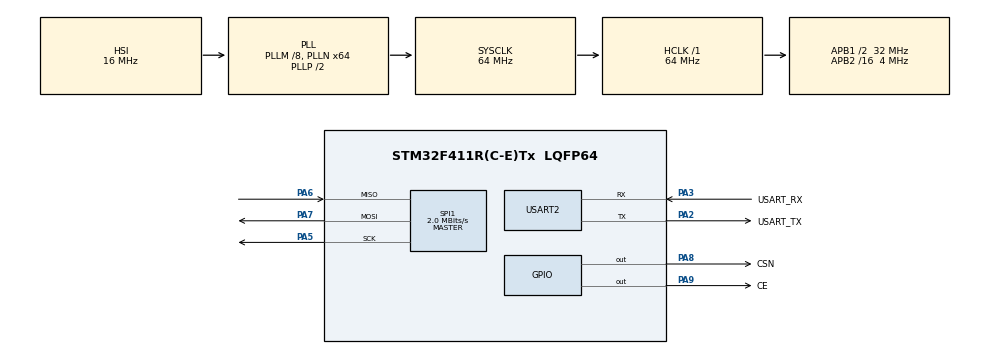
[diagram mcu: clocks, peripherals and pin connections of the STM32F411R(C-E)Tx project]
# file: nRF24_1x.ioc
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Mcu.Family=STM32F4
Mcu.Name=STM32F411R(C-E)Tx
Mcu.Package=LQFP64
NVIC.PriorityGroup=NVIC_PRIORITYGROUP_0
PA2.GPIO_Label=USART_TX
PA2.Mode=Asynchronous
PA2.Signal=USART2_TX
PA3.GPIO_Label=USART_RX
PA3.Mode=Asynchronous
PA3.Signal=USART2_RX
PA5.Mode=Full_Duplex_Master
PA5.Signal=SPI1_SCK
PA6.Mode=Full_Duplex_Master
PA6.Signal=SPI1_MISO
PA7.Mode=Full_Duplex_Master
PA7.Signal=SPI1_MOSI
PA8.GPIO_Label=CSN
PA8.Signal=GPIO_Output
PA9.GPIO_Label=CE
PA9.Signal=GPIO_Output
PC14-OSC32_IN.Mode=LSE-External-Oscillator
PC14-OSC32_IN.Signal=RCC_OSC32_IN
PC15-OSC32_OUT.Mode=LSE-External-Oscillator
PC15-OSC32_OUT.Signal=RCC_OSC32_OUT
PH0\ -\ OSC_IN.Mode=HSE-External-Clock-Source
PH0\ -\ OSC_IN.Signal=RCC_OSC_IN
PH1\ -\ OSC_OUT.Mode=HSE-External-Clock-Source
PH1\ -\ OSC_OUT.Signal=RCC_OSC_OUT
ProjectManager.HeapSize=0x200
ProjectManager.StackSize=0x400
ProjectManager.TargetToolchain=CMake
RCC.48MHZClocksFreq_Value=32000000
RCC.AHBFreq_Value=64000000
RCC.APB1CLKDivider=RCC_HCLK_DIV2
RCC.APB1Freq_Value=32000000
RCC.APB1TimFreq_Value=64000000
RCC.APB2CLKDivider=RCC_HCLK_DIV16
RCC.APB2Freq_Value=4000000
RCC.APB2TimFreq_Value=8000000
RCC.CortexFreq_Value=64000000
RCC.FLatency-AdvancedSettings=FLASH_LATENCY_2
RCC.HCLKFreq_Value=64000000
RCC.HSE_VALUE=8000000
RCC.HSI_VALUE=16000000
RCC.PLLM=8
RCC.PLLN=64
RCC.SYSCLKFreq_VALUE=64000000
RCC.SYSCLKSource=RCC_SYSCLKSOURCE_PLLCLK
RCC.VCOOutputFreq_Value=128000000
SPI1.CalculateBaudRate=2.0 MBits/s
SPI1.Direction=SPI_DIRECTION_2LINES
SPI1.Mode=SPI_MODE_MASTER
SPI1.VirtualType=VM_MASTER
USART2.VirtualMode=VM_ASYNC
board=NUCLEO-F411RE

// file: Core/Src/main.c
/* USER CODE BEGIN Header */
/**
  ******************************************************************************
  * @file           : main.c
  * @brief          : Main program body
  ******************************************************************************
  * @attention
  *
  * Copyright (c) 2024 STMicroelectronics.
  * All rights reserved.
  *
  * This software is licensed under terms that can be found in the LICENSE file
  * in the root directory of this software component.
  * If no LICENSE file comes with this software, it is provided AS-IS.
  *
  ******************************************************************************
  */
/* USER CODE END Header */
#include "main.h"
#include "spi.h"
#include "usart.h"
#include "gpio.h"
#include "nrf24l01p.h"
#include <stdio.h>

#ifdef __GNUC__
  #define _PUTCHAR int __io_putchar(int ch)
#else
  #define _PUTCHAR int fputc(int ch, FILE *f)
#endif

#define PROD_TX_ADDR "TXADR"
#define PROD_RF_CHAN 0xF1

_PUTCHAR {
  HAL_UART_Transmit(&huart2, (uint8_t *) &ch, 1, HAL_MAX_DELAY);
  return 1;
}

void SystemClock_Config(void);
void dumpRegs(nrf24_t *nrf);

/* USER CODE BEGIN 0 */
/*
params:
  in: nrf24_t * - Handle of nrf object

desc:
  Dumps all registers of the transceiver to USART device configured in _PUTCHAR macro
*/
void dumpRegs(nrf24_t *nrf) {
  uint8_t buf[5] = {0};
  uint8_t reg;

  reg = nRF24_GetConfig(nrf);
  printf("Config reg value: %02x\r\n", reg);
  reg = 0;

  reg = nRF24_GetAutoAck(nrf);
  printf("AutoAck reg value: %02x\r\n", reg);
  reg = 0;

  reg = nRF24_GetEnabledRxAddrs(nrf);
  printf("Enabled RX addrs reg value: %02x\r\n", reg);
  reg = 0;

  reg = nRF24_GetAddrWidth(nrf);
  printf("Addr width reg value: %02x\r\n", reg);
  reg = 0;

  reg = nRF24_GetAutoRetransmit(nrf);
  printf("Auto retransmit reg value: %02x\r\n", reg);
  reg = 0;

  reg = nRF24_GetRFChannel(nrf);
  printf("RF channel reg value: %02x\r\n", reg);
  reg = 0;

  reg = nRF24_GetRFConfig(nrf);
  printf("RF config reg value: %02x\r\n", reg);
  reg = 0;

  reg = nRF24_GetStatus(nrf);
  printf("Status reg value: %02x\r\n", reg);
  reg = 0;

  reg = nRF24_GetTxObserve(nrf);
  printf("TX observation reg value: %02x\r\n", reg);
  reg = 0;

  reg = nRF24_GetRPD(nrf);
  printf("RPD reg value: %02x\r\n", reg);
  reg = 0;

  nRF24_GetRXPipeAddr(nrf, p0, buf, sizeof(buf));
  for(uint8_t i = 0; i < sizeof(buf); i++) {
    printf("Rx pipe 0 reg value byte %d: %02x\r\n", i, buf[i]);
    buf[i] = 0;
  }

  nRF24_GetRXPipeAddr(nrf, p1, buf, sizeof(buf));
  for(uint8_t i = 0; i < sizeof(buf); i++) {
    printf("Rx pipe 1 reg value byte %d: %02x\r\n", i, buf[i]);
    buf[i] = 0;
  }

  nRF24_GetRXPipeAddr(nrf, p2, &reg, 1);
  printf("Rx pipe 2 value: %02x\r\n", reg);

  nRF24_GetRXPipeAddr(nrf, p3, &reg, 1);
  printf("Rx pipe 2 value: %02x\r\n", reg);

  nRF24_GetRXPipeAddr(nrf, p4, &reg, 1);
  printf("Rx pipe 2 value: %02x\r\n", reg);

  nRF24_GetRXPipeAddr(nrf, p5, &reg, 1);
  printf("Rx pipe 2 value: %02x\r\n", reg);

  nRF24_GetTXAddr(nrf, buf, sizeof(buf));
  for(uint8_t i = 0; i < sizeof(buf); i++) {
    printf("Tx addr byte %d: %02x\r\n", i, buf[i]);
    buf[i] = 0;
  }

  reg = nRF24_GetRXPipeWidth(nrf, p0);
  printf("Rx pipe 0 width reg value: %02x\r\n", reg);
  reg = 0;

  reg = nRF24_GetRXPipeWidth(nrf, p1);
  printf("Rx pipe 1 width reg value: %02x\r\n", reg);
  reg = 0;

  reg = nRF24_GetRXPipeWidth(nrf, p2);
  printf("Rx pipe 2 width reg value: %02x\r\n", reg);
  reg = 0;

  reg = nRF24_GetRXPipeWidth(nrf, p3);
  printf("Rx pipe 3 width reg value: %02x\r\n", reg);
  reg = 0;

  reg = nRF24_GetRXPipeWidth(nrf, p4);
  printf("Rx pipe 4 width reg value: %02x\r\n", reg);
  reg = 0;

  reg = nRF24_GetRXPipeWidth(nrf, p5);
  printf("Rx pipe 5 width reg value: %02x\r\n", reg);
  reg = 0;

  nRF24_ClearFifoStatus(nrf);
  reg = nRF24_GetFifoStatus(nrf);
  printf("Fifo status reg value: %02x\r\n", reg);
  reg = 0;

  reg = nRF24_GetDynamicPayloadConfig(nrf);
  printf("Dynamic payload config reg value: %02x\r\n", reg);
  reg = 0;

  reg = nRF24_GetFeatureConfig(nrf);
  printf("Feature config reg value: %02x\r\n", reg);
}
/* USER CODE END 0 */

int main(void)
{

  /* MCU Configuration--------------------------------------------------------*/

  /* Reset of all peripherals, Initializes the Flash interface and the Systick. */
  HAL_Init();

  /* Configure the system clock */
  SystemClock_Config();

  /* Initialize all configured peripherals */
  MX_GPIO_Init();
  MX_SPI1_Init();
  MX_USART2_UART_Init();
  /* USER CODE BEGIN 2 */

  nrf24_t nrf;
  uint8_t status = 0;
  uint8_t regValue = 0;
  status = nRF24_Init(&nrf, &hspi1, CSN_GPIO_Port, CSN_Pin, CE_GPIO_Port, CE_Pin);

  // Configured at compile time using -DDUMPREGS with gcc/clang
  #ifdef DUMPREGS
    dumpRegs(&nrf);
  #endif

  // Disable shockburst
  nRF24_SetPipeAA(&nrf, pAll, STATE_OFF);

  // Set RF channel
  nRF24_SetRFChannel(&nrf, PROD_RF_CHAN);

  // Set data rate
  nRF24_SetRFDataRate(&nrf, kbps250);

  // CRC format
  nRF24_SetCRC(&nrf, crc_2byte);

  // Addr width
  nRF24_SetAddrWidth(&nrf, aw5);

  // Set tx addr
  nRF24_SetTXAddr(&nrf, (uint8_t *) PROD_TX_ADDR, SIZE_TX_ADDR);

  // Set tx power
  nRF24_SetPower(&nrf, rf0dbm);

  // Set operational mode
  nRF24_SetOperationalMode(&nrf, MODE_TX);

  // Clear IRQ
  nRF24_ClearIRQ(&nrf);

  // Power up
  nRF24_SetPowerState(&nrf, STATE_ON);

  #ifdef DUMPREGS
    printf("Configuration complete, dumping registers\r\n");
    dumpRegs(&nrf);
  #endif

  /* USER CODE END 2 */

  /* Infinite loop */
  while (1)
  {

  }
}

void SystemClock_Config(void)
{
  RCC_OscInitTypeDef RCC_OscInitStruct = {0};
  RCC_ClkInitTypeDef RCC_ClkInitStruct = {0};

  /** Configure the main internal regulator output voltage
  */
  __HAL_RCC_PWR_CLK_ENABLE();
  __HAL_PWR_VOLTAGESCALING_CONFIG(PWR_REGULATOR_VOLTAGE_SCALE1);

  /** Initializes the RCC Oscillators according to the specified parameters
  * in the RCC_OscInitTypeDef structure.
  */
  RCC_OscInitStruct.OscillatorType = RCC_OSCILLATORTYPE_HSI;
  RCC_OscInitStruct.HSIState = RCC_HSI_ON;
  RCC_OscInitStruct.HSICalibrationValue = RCC_HSICALIBRATION_DEFAULT;
  RCC_OscInitStruct.PLL.PLLState = RCC_PLL_ON;
  RCC_OscInitStruct.PLL.PLLSource = RCC_PLLSOURCE_HSI;
  RCC_OscInitStruct.PLL.PLLM = 8;
  RCC_OscInitStruct.PLL.PLLN = 64;
  RCC_OscInitStruct.PLL.PLLP = RCC_PLLP_DIV2;
  RCC_OscInitStruct.PLL.PLLQ = 4;
  if (HAL_RCC_OscConfig(&RCC_OscInitStruct) != HAL_OK)
  {
    Error_Handler();
  }

  /** Initializes the CPU, AHB and APB buses clocks
  */
  RCC_ClkInitStruct.ClockType = RCC_CLOCKTYPE_HCLK|RCC_CLOCKTYPE_SYSCLK
                              |RCC_CLOCKTYPE_PCLK1|RCC_CLOCKTYPE_PCLK2;
  RCC_ClkInitStruct.SYSCLKSource = RCC_SYSCLKSOURCE_PLLCLK;
  RCC_ClkInitStruct.AHBCLKDivider = RCC_SYSCLK_DIV1;
  RCC_ClkInitStruct.APB1CLKDivider = RCC_HCLK_DIV2;
  RCC_ClkInitStruct.APB2CLKDivider = RCC_HCLK_DIV16;

  if (HAL_RCC_ClockConfig(&RCC_ClkInitStruct, FLASH_LATENCY_2) != HAL_OK)
  {
    Error_Handler();
  }
}

void Error_Handler(void)
{
  __disable_irq();
  while (1)
  {
  }
}
